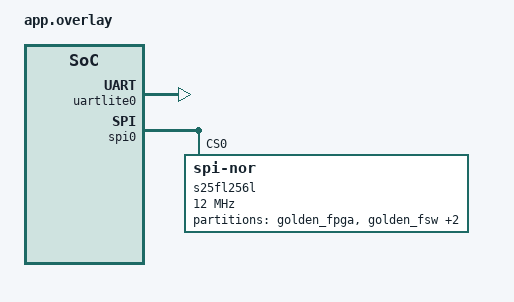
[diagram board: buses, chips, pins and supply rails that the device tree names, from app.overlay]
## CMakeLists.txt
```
cmake_minimum_required(VERSION 3.20.0)

set(BOARD scobc_module1)

find_package(Zephyr REQUIRED HINTS $ENV{ZEPHYR_BASE})
project(scsat1-bootloader)

target_sources(app PRIVATE src/main.c)
```

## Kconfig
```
mainmenu "SC-Sat1 Main Board"

menu "Application"

config SCOBC_A1_BOOT_CFG_COPY_SIZE_KB
	int "The size (in Kbytes) that the bootloader copies from config memory to HRMEM"
	default 256
	help
	  The size (in bytes) that the bootloader copies from config memory to HRMEM.

endmenu

menu "Zephyr"
source "Kconfig.zephyr"
endmenu
```

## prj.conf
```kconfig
CONFIG_SPI=y
CONFIG_FLASH=y
CONFIG_SPI_NOR=y
CONFIG_FLASH_MAP=y
CONFIG_FLASH_MAP_LABELS=y
```

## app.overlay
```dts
#include <freq.h>
#include <mem.h>

/delete-node/ &hrmem;
/delete-node/ &uartlite0;

/ {
	chosen {
		zephyr,sram = &itcm;
	};

	soc {
		itcm: memory@0 {
			compatible = "arm,itcm";
			reg = <0x00000000 DT_SIZE_K(32)>;
		};

		uartlite0: uartlite@4f010000 {
			compatible = "xlnx,xps-uartlite-1.00.a";
			interrupts = <0 0>;
			reg = <0x4f010000 0x10000>;
		};

		spi0: spi@40000000 {
			compatible = "sc,qspi";
			interrupts = <2 0>;
			reg = <0x40000000 0x1000>;
			#address-cells = <1>;
			#size-cells = <0>;
			slave-num = <1>;
			cpol = <0>;
			cpha = <0>;
			spiclk_div = <0>;
			data-capture-mode;

			s25fl256l: s25fl256l@0 {
				compatible = "jedec,spi-nor";
				reg = <0>;
				size = <DT_SIZE_M(256)>;
				spi-max-frequency = <12000000>;
				status = "okay";
				enter-4byte-addr = <1>;
				jedec-id = [01 60 19];

				partitions {
					compatible = "fixed-partitions";
					#address-cells = <1>;
					#size-cells = <1>;
					golden_fpga: partition@0 {
						reg = <0x00000000 DT_SIZE_M(8)>;
					};
					golden_fsw: partition@800000 {
						reg = <0x00800000 (DT_SIZE_M(4))>;
					};
					update_fpga: partition@1000000 {
						reg = <0x01000000 DT_SIZE_M(10)>;
					};
					update_fsw: partition@1A00000 {
						reg = <0x01A00000 (DT_SIZE_M(4))>;
					};
				};
			};
		};

		fpgasys: fpgasys@4f000000 {
			compatible = "sc,fpgasys";
			reg = <0x4f000000 0x10000>;
		};
	};
};
```

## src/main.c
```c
/*
 * Copyright (c) 2024 Space Cubics, LLC.
 *
 * SPDX-License-Identifier: Apache-2.0
 */

#include <string.h>
#include <zephyr/kernel.h>
#include <zephyr/storage/flash_map.h>
#include "version.h"
#include "sc_fpgasys.h"
#include "sc_fpgaconf.h"

#define SCOBCA1_FPGA_SYSREG_CFGMEMCTL (0x4F000010)
#define SCOBCA1_FPGA_HRMEM_ADDR       (0x60000000)
#define SYSREG_CODEMSEL_ENABLE_HRMEM  (0x5a5a0000)
#define QSPI_RX_FIFO_MAX_BYTE         (16U)

static int select_cfg_memory(void)
{
	int ret;
	enum sc_cfgmem boot_bank;

	/*
	 * FPGA configures using the Config memory bank specified by TRCH,
	 * but after control is transferred to the FPGA, the Config Memory
	 * selects the default 0 bank. Therefore, the Bootloader needs to
	 * check the FPGA registers to determine which bank was used for
	 * configuration, and then load the FSW from the same bank and copy
	 * it to HRMEM.
	 */
	boot_bank = sc_get_boot_cfgmem();

	ret = sc_select_cfgmem(boot_bank);
	if (ret == 0) {
		printk("Boot from CFG bank %d\n", boot_bank);
	} else {
		printk("Faild to boot from CFG bank %d\n", boot_bank);
	}

	return ret;
}

static int copy_norflash_to_hrmem(uint8_t partition_id, mm_reg_t sram_mem_addr, uint32_t size)
{
	int ret;
	const struct flash_area *flash = NULL;
	uint8_t read_vals[QSPI_RX_FIFO_MAX_BYTE];
	uint16_t loop_count;
	off_t offset = 0;

	ret = select_cfg_memory();
	if (ret < 0) {
		goto end;
	}

	printk("Load from partition id: %d\n", partition_id);

	ret = flash_area_open(partition_id, &flash);
	if (ret < 0) {
		goto end;
	}

	loop_count = size / QSPI_RX_FIFO_MAX_BYTE;
	for (uint16_t i = 0; i < loop_count; i++) {

		ret = flash_area_read(flash, offset, (void *)read_vals, QSPI_RX_FIFO_MAX_BYTE);
		if (ret < 0) {
			goto cleanup;
		}

		memcpy((void *)sram_mem_addr, read_vals, QSPI_RX_FIFO_MAX_BYTE);

		offset += QSPI_RX_FIFO_MAX_BYTE;
		sram_mem_addr += QSPI_RX_FIFO_MAX_BYTE;
	}

cleanup:
	flash_area_close(flash);

end:
	return ret;
}

int main(void)
{
	int ret;
	uint8_t partition_id = FIXED_PARTITION_ID(update_fsw);

	printk("Start SC-Sat1 Boot loader (v%s)\n", BOOT_LOADER_VERSION);
	printk("FPGA Boot Status : 0x%08x\n", sc_get_bootsts());

	if (sc_fpgaconf_is_fallback()) {
		partition_id = FIXED_PARTITION_ID(golden_fsw);
	}

	ret = copy_norflash_to_hrmem(partition_id, SCOBCA1_FPGA_HRMEM_ADDR,
				     KB(CONFIG_SCOBC_A1_BOOT_CFG_COPY_SIZE_KB));
	if (ret < 0) {
		goto end;
	}

	sc_select_codemem(SC_HRMEM);

end:
	return ret;
}
```

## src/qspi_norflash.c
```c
/*
 * Copyright (c) 2024 Space Cubics, LLC.
 *
 * SPDX-License-Identifier: Apache-2.0
 */

#include "qspi_norflash.h"

#include <zephyr/logging/log.h>
LOG_MODULE_REGISTER(qspi_norflash);

#define SCOBCA1_FPGA_SYSREG_CFGMEMCTL (0x4F000010)

#define QSPI_NOR_FLASH_MEM_ADDR_SIZE     (3u)
#define QSPI_DATA_MEM0_SS                (0x01)
#define QSPI_DATA_MEM1_SS                (0x02)
#define QSPI_ASR_IDLE                    (0x00)
#define QSPI_ASR_BUSY                    (0x01)
#define QSPI_RX_FIFO_MAX_BYTE            (16u)
#define QSPI_NOR_FLASH_DUMMY_CYCLE_COUNT (4u)
#define QSPI_SPI_MODE_QUAD               (0x00020000)

#define TRCH_CFG_MEM_MONI_BIT  (2u) /* TRCH RB2 */
#define TRCH_CFG_MEM_MONI_MASK (0x04)

#define REG_READ_RETRY(count) (count)

static inline void write32(uint32_t addr, uint32_t val)
{
	sys_write32(val, addr);
}

static bool verify(uint32_t addr, uint32_t exp, uint32_t retry)
{
	uint32_t regval;

	regval = sys_read32(addr);
	if (regval == exp) {
		LOG_DBG("  read32  [0x%08X] 0x%08x (exp:0x%08x)", addr, regval, exp);
		return true;
	} else if (retry == 0) {
		LOG_ERR("  read32  [0x%08X] 0x%08x (exp:0x%08x)", addr, regval, exp);
	}

	for (uint32_t i = 0; i < retry; i++) {
		regval = sys_read32(addr);
		if (regval == exp) {
			LOG_DBG("  read32  [0x%08X] 0x%08x (exp:0x%08x) (retry:%d)", addr, regval,
				exp, i + 1);
			return true;
		} else if (i + 1 == retry) {
			LOG_ERR("  read32  [0x%08X] 0x%08x (exp:0x%08x) (retry:%d)", addr, regval,
				exp, i + 1);
		} else {
			LOG_DBG("  read32  [0x%08X] 0x%08x (exp:0x%08x) (retry:%d)", addr, regval,
				exp, i + 1);
		}
		k_usleep(1);
	}

	LOG_ERR("  !!! Assertion failed: retry count: %d", retry);
	return false;
}

static bool qspi_select_mem(uint32_t base, uint8_t mem_no, uint32_t *spi_ss)
{
	if (base == SCOBCA1_FPGA_CFG_BASE_ADDR) {
		/* Config Memory is switched by CFGMEMSEL */
		if (mem_no == QSPI_DATA_MEM0) {
			LOG_DBG("* [#0] Select Config Memory 0");
			write32(SCOBCA1_FPGA_SYSREG_CFGMEMCTL, 0x00);
			if (!verify(SCOBCA1_FPGA_SYSREG_CFGMEMCTL, 0x00, REG_READ_RETRY(100000))) {
				LOG_ERR("  !!! Can not select Config Memory %d", mem_no);
				return false;
			}
		} else {
			LOG_DBG("* [#0] Select Config Memory 1");
			write32(SCOBCA1_FPGA_SYSREG_CFGMEMCTL, 0x10);
			if (!verify(SCOBCA1_FPGA_SYSREG_CFGMEMCTL, 0x30, REG_READ_RETRY(100000))) {
				LOG_ERR("  !!! Can not select Config Memory %d", mem_no);
				return false;
			}
		}
		*spi_ss = 0x01;
	} else {
		if (mem_no == QSPI_DATA_MEM0) {
			*spi_ss = QSPI_DATA_MEM0_SS;
		} else {
			*spi_ss = QSPI_DATA_MEM1_SS;
		}
	}

	return true;
}

static bool is_qspi_idle(uint32_t base)
{
	LOG_DBG("* Confirm QSPI Access Status is `Idle`");
	if (!verify(SCOBCA1_FPGA_NORFLASH_QSPI_ASR(base), QSPI_ASR_IDLE, REG_READ_RETRY(10))) {
		LOG_ERR("QSPI (Data Memory) is busy, so exit test");
		return false;
	}

	return true;
}

static bool activate_spi_ss(uint32_t base, uint32_t spi_mode)
{
	LOG_DBG("* Activate SPI SS with %08x", spi_mode);
	write32(SCOBCA1_FPGA_NORFLASH_QSPI_ACR(base), spi_mode);
	if (!is_qspi_idle(base)) {
		return false;
	}

	return true;
}

static bool inactivate_spi_ss(uint32_t base)
{
	LOG_DBG("* Inactivate SPI SS");
	write32(SCOBCA1_FPGA_NORFLASH_QSPI_ACR(base), 0x00000000);
	if (!is_qspi_idle(base)) {
		return false;
	}

	return true;
}

static void write_mem_addr_to_flash(uint32_t base, mm_reg_t mem_addr)
{
	write32(SCOBCA1_FPGA_NORFLASH_QSPI_TDR(base), (mem_addr & 0x00FF0000) >> 16);
	write32(SCOBCA1_FPGA_NORFLASH_QSPI_TDR(base), (mem_addr & 0x0000FF00) >> 8);
	write32(SCOBCA1_FPGA_NORFLASH_QSPI_TDR(base), (mem_addr & 0x000000FF));
}

static bool send_dummy_cycle(uint32_t base, uint8_t dummy_count)
{
	LOG_DBG("* Send dummy cycle %d byte", dummy_count);
	for (uint8_t i = 0; i < dummy_count; i++) {
		write32(SCOBCA1_FPGA_NORFLASH_QSPI_RDR(base), 0x00);
	}

	if (!is_qspi_idle(base)) {
		return false;
	}

	LOG_DBG("* Discard dummy data");
	for (uint8_t i = 0; i < dummy_count; i++) {
		sys_read32(SCOBCA1_FPGA_NORFLASH_QSPI_RDR(base));
	}

	return true;
}

static bool read_rx_data(uint32_t base, size_t read_size, uint8_t *read_vals)
{
	bool ret = true;

	LOG_DBG("* Reqest RX FIFO %d byte", read_size);
	for (uint8_t i = 0; i < read_size; i++) {
		write32(SCOBCA1_FPGA_NORFLASH_QSPI_RDR(base), 0x00);
	}

	if (!is_qspi_idle(base)) {
		return false;
	}

	LOG_DBG("* Read RX FIFO %d byte", read_size);
	for (uint8_t i = 0; i < read_size; i++) {
		read_vals[i] = sys_read8(SCOBCA1_FPGA_NORFLASH_QSPI_RDR(base));
		LOG_DBG("0x%2x", read_vals[i]);
	}

	return ret;
}

static bool read_and_verify_rx_data(uint32_t base, size_t exp_size, uint32_t *exp_val)
{
	bool ret = true;

	LOG_DBG("* Reqest RX FIFO %d byte", exp_size);
	for (uint8_t i = 0; i < exp_size; i++) {
		write32(SCOBCA1_FPGA_NORFLASH_QSPI_RDR(base), 0x00);
	}

	if (!is_qspi_idle(base)) {
		return false;
	}

	LOG_DBG("* Read RX FIFO %d byte and verify the value", exp_size);
	for (uint8_t i = 0; i < exp_size; i++) {
		if (!verify(SCOBCA1_FPGA_NORFLASH_QSPI_RDR(base), exp_val[i], REG_READ_RETRY(0))) {
			ret = false;
		}
	}

	return ret;
}

static bool is_qspi_control_done(uint32_t base)
{
	LOG_DBG("* Confirm QSPI IntLOG_ERRupt Stauts is `SPI Control Done`");
	if (!verify(SCOBCA1_FPGA_NORFLASH_QSPI_ISR(base), 0x01, REG_READ_RETRY(10))) {
		return false;
	}

	LOG_DBG("* Clear QSPI IntLOG_ERRupt Stauts");
	write32(SCOBCA1_FPGA_NORFLASH_QSPI_ISR(base), 0x01);
	if (!verify(SCOBCA1_FPGA_NORFLASH_QSPI_ISR(base), 0x00, REG_READ_RETRY(10))) {
		return false;
	}

	return true;
}

static bool verify_status_resisger1(uint32_t base, uint32_t spi_ss, size_t exp_size,
				    uint32_t *exp_val)
{
	bool ret;

	/* Activate SPI SS with SINGLE-IO */
	if (!activate_spi_ss(base, spi_ss)) {
		return false;
	}

	LOG_DBG("* Request Status Register 1");
	write32(SCOBCA1_FPGA_NORFLASH_QSPI_TDR(base), 0x05);
	if (!is_qspi_idle(base)) {
		return false;
	}

	/* Read Memory data (2byte) adn Verify */
	ret = read_and_verify_rx_data(base, exp_size, exp_val);
	if (!ret) {
	}

	/* Inactive SPI SS */
	if (!inactivate_spi_ss(base)) {
		return false;
	}

	/* Confirm SPI Control is Done */
	if (!is_qspi_control_done(base)) {
		return false;
	}

	return ret;
}

static bool clear_status_register(uint32_t base, uint32_t spi_ss)
{
	/* Activate SPI SS with SINGLE-IO */
	if (!activate_spi_ss(base, spi_ss)) {
		return false;
	}

	/* Clear All ISR */
	write32(SCOBCA1_FPGA_NORFLASH_QSPI_ISR(base), 0xFFFFFFFF);

	LOG_DBG("* Clear Status Register (Instructure:0x30) ");
	write32(SCOBCA1_FPGA_NORFLASH_QSPI_TDR(base), 0x30);

	/* Inactive SPI SS */
	if (!inactivate_spi_ss(base)) {
		return false;
	}

	/* Confirm SPI Control is Done */
	if (!is_qspi_control_done(base)) {
		return false;
	}

	return true;
}

static bool set_write_enable(uint32_t base, uint32_t spi_ss)
{
	uint32_t exp_write_enable[] = {0x02, 0x02};

	/* Active SPI SS with SINGLE-IO */
	if (!activate_spi_ss(base, spi_ss)) {
		return false;
	}

	LOG_DBG("* Set `Write Enable` (Instructure:0x06) ");
	write32(SCOBCA1_FPGA_NORFLASH_QSPI_TDR(base), 0x06);

	/* Inactive SPI SS */
	if (!inactivate_spi_ss(base)) {
		return false;
	}

	/* Confirm SPI Control is Done */
	if (!is_qspi_control_done(base)) {
		return false;
	}

	if (!verify_status_resisger1(base, spi_ss, ARRAY_SIZE(exp_write_enable),
				     exp_write_enable)) {
		return false;
	}

	return true;
}

static bool set_quad_io_mode(uint32_t base, uint32_t spi_ss)
{
	/* Activate SPI SS with SINGLE-IO */
	if (!activate_spi_ss(base, spi_ss)) {
		return false;
	}

	LOG_DBG("* Set QUAD I/O mode to configuration register");
	write32(SCOBCA1_FPGA_NORFLASH_QSPI_TDR(base), 0x01);
	write32(SCOBCA1_FPGA_NORFLASH_QSPI_TDR(base), 0x00);
	write32(SCOBCA1_FPGA_NORFLASH_QSPI_TDR(base), 0x02);
	if (!is_qspi_idle(base)) {
		return false;
	}

	/* Inactivate SPI SS */
	if (!inactivate_spi_ss(base)) {
		return false;
	}

	/* Confirm SPI Control is Done */
	if (!is_qspi_control_done(base)) {
		return false;
	}

	return true;
}

static bool verify_config_register(uint32_t base, uint32_t spi_ss, size_t exp_size,
				   uint32_t *exp_val)
{
	bool ret;

	/* Activate SPI SS with SINGLE-IO */
	if (!activate_spi_ss(base, spi_ss)) {
		return false;
	}

	LOG_DBG("* Request Configuration Register");
	write32(SCOBCA1_FPGA_NORFLASH_QSPI_TDR(base), 0x35);
	if (!is_qspi_idle(base)) {
		return false;
	}

	/* Read Memory data (2byte) adn Verify */
	ret = read_and_verify_rx_data(base, exp_size, exp_val);

	/* Inactive SPI SS */
	if (!inactivate_spi_ss(base)) {
		return false;
	}

	/* Confirm SPI Control is Done */
	if (!is_qspi_control_done(base)) {
		return false;
	}

	return ret;
}

static bool verify_quad_io_mode(uint32_t base, uint32_t spi_ss)
{
	uint32_t exp_quad_mode[2] = {0x02, 0x02};

	if (!verify_config_register(base, spi_ss, ARRAY_SIZE(exp_quad_mode), exp_quad_mode)) {
		return false;
	}

	return true;
}

bool qspi_norflash_init(uint32_t base, uint8_t mem_no)
{
	uint32_t spi_ss;

	if (mem_no > 1) {
		LOG_ERR("   !!! Invalid Mem number %d (expected 0 or 1)", mem_no);
		return false;
	}

	if (!qspi_select_mem(base, mem_no, &spi_ss)) {
		return false;
	}

	LOG_DBG("* [#1] Clear Status Register");
	if (!clear_status_register(base, spi_ss)) {
		return false;
	}

	LOG_DBG("* [#2] Set to `Write Enable'");
	if (!set_write_enable(base, spi_ss)) {
		return false;
	}

	LOG_DBG("* [#3] Set to `QUAD I/O modee'");
	if (!set_quad_io_mode(base, spi_ss)) {
		return false;
	}

	/* Wait 1 sec */
	k_sleep(K_MSEC(1000));

	LOG_DBG("* [#4] Verify Configuration Register is QUAD I/O mode (0x02)");
	if (!verify_quad_io_mode(base, spi_ss)) {
		return false;
	}

	return true;
}

static bool qspi_norflash_set_quad_read_mode(uint32_t base, uint32_t spi_ss)
{
	/* Active SPI SS with SINGLE-IO */
	if (!activate_spi_ss(base, spi_ss)) {
		return false;
	}

	LOG_DBG("* Set QUAD-IO read mode");
	write32(SCOBCA1_FPGA_NORFLASH_QSPI_TDR(base), 0xEB);
	if (!is_qspi_idle(base)) {
		return false;
	}

	/* Keep SPI SS for QUAD Read */
	return true;
}

static bool qspi_norflash_quad_read_data(uint32_t base, uint32_t spi_ss, mm_reg_t mem_addr,
					 uint8_t read_size, uint8_t *read_vals)
{
	bool ret;

	LOG_DBG("* Activate SPI SS with Quad-IO SPI Mode");
	write32(SCOBCA1_FPGA_NORFLASH_QSPI_ACR(base), QSPI_SPI_MODE_QUAD + spi_ss);

	LOG_DBG("* Send Memory Address (3byte)");
	write_mem_addr_to_flash(base, mem_addr);

	LOG_DBG("* Send Mode (0x00)");
	write32(SCOBCA1_FPGA_NORFLASH_QSPI_TDR(base), 0x00);

	/* Send Dummy Cycle */
	send_dummy_cycle(base, QSPI_NOR_FLASH_DUMMY_CYCLE_COUNT);
	if (!is_qspi_idle(base)) {
		return false;
	}

	/* Read Initial RX data and verify */
	ret = read_rx_data(base, read_size, read_vals);
	if (!ret) {
	}

	/* Inactive the SPI SS */
	if (!inactivate_spi_ss(base)) {
		return false;
	}

	return ret;
}

int qspi_norflash_copy_to_hrmem(uint8_t mem_no, mm_reg_t cfg_mem_addr, uint32_t size,
				mm_reg_t sram_mem_addr)
{
	int ret = 0;
	uint32_t base = SCOBCA1_FPGA_CFG_BASE_ADDR;
	uint32_t spi_ss;
	uint8_t read_vals[QSPI_RX_FIFO_MAX_BYTE];
	uint16_t loop_count;

	if (mem_no > 1) {
		LOG_ERR("Invalid Mem number %d (expected 0 or 1)", mem_no);
		ret = -1;
		goto end;
	}

	if (!qspi_select_mem(base, mem_no, &spi_ss)) {
		ret = -1;
		goto end;
	}

	LOG_DBG("* [#1] Clear Status Register");
	if (!clear_status_register(base, spi_ss)) {
		ret = -1;
		goto end;
	}

	loop_count = size / QSPI_RX_FIFO_MAX_BYTE;
	for (uint16_t i = 0; i < loop_count; i++) {

		LOG_DBG("* [#2] Set QUAD-IO Read Mode");
		if (!qspi_norflash_set_quad_read_mode(base, spi_ss)) {
			ret = -1;
			goto end;
		}

		LOG_DBG("* [#3] Read Data (QUAD-IO Mode) ");
		if (!qspi_norflash_quad_read_data(base, spi_ss, cfg_mem_addr, QSPI_RX_FIFO_MAX_BYTE,
						  read_vals)) {
			ret = -1;
			goto end;
		}

		memcpy((void *)sram_mem_addr, read_vals, QSPI_RX_FIFO_MAX_BYTE);

		cfg_mem_addr += QSPI_RX_FIFO_MAX_BYTE;
		sram_mem_addr += QSPI_RX_FIFO_MAX_BYTE;
	}

end:
	return ret;
}
```

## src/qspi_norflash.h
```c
/*
 * Copyright (c) 2024 Space Cubics, LLC.
 *
 * SPDX-License-Identifier: Apache-2.0
 */

#pragma once

#include <zephyr/kernel.h>

/* Base address */
#define SCOBCA1_FPGA_CFG_BASE_ADDR  (0x40000000)
#define SCOBCA1_FPGA_DATA_BASE_ADDR (0x40100000)

/* Offset */
#define QSPI_ACR_OFFSET    (0x0000) /* QSPI Access Control Register */
#define QSPI_TDR_OFFSET    (0x0004) /* QSPI TX Data Register */
#define QSPI_RDR_OFFSET    (0x0008) /* QSPI RX Data Register */
#define QSPI_ASR_OFFSET    (0x000C) /* QSPI Access Status Register */
#define QSPI_FIFOSR_OFFSET (0x0010) /* QSPI FIFO Status Register */
#define QSPI_FIFORR_OFFSET (0x0014) /* QSPI FIFO Reset Register */
#define QSPI_ISR_OFFSET    (0x0020) /* QSPI Interrupt Status Register */
#define QSPI_IER_OFFSET    (0x0024) /* QSPI Interrupt Enable Register */
#define QSPI_CCR_OFFSET    (0x0030) /* QSPI Clock Control Register */
#define QSPI_DCMSR_OFFSET  (0x0034) /* QSPI Data Capture Mode Setting Register */
#define QSPI_FTLSR_OFFSET  (0x0038) /* QSPI FIFO Threshold Level Setting Register */
#define QSPI_VER_OFFSET    (0xF000) /* QSPI Controller IP Version Register */

/* QSPI Control Register for Data/ Configutation Memory */
#define SCOBCA1_FPGA_NORFLASH_QSPI_ACR(base)    (base + QSPI_ACR_OFFSET)
#define SCOBCA1_FPGA_NORFLASH_QSPI_TDR(base)    (base + QSPI_TDR_OFFSET)
#define SCOBCA1_FPGA_NORFLASH_QSPI_RDR(base)    (base + QSPI_RDR_OFFSET)
#define SCOBCA1_FPGA_NORFLASH_QSPI_ASR(base)    (base + QSPI_ASR_OFFSET)
#define SCOBCA1_FPGA_NORFLASH_QSPI_FIFOSR(base) (base + QSPI_FIFOSR_OFFSET)
#define SCOBCA1_FPGA_NORFLASH_QSPI_FIFORR(base) (base + QSPI_FIFORR_OFFSET)
#define SCOBCA1_FPGA_NORFLASH_QSPI_ISR(base)    (base + QSPI_ISR_OFFSET)
#define SCOBCA1_FPGA_NORFLASH_QSPI_IER(base)    (base + QSPI_IER_OFFSET)
#define SCOBCA1_FPGA_NORFLASH_QSPI_CCR(base)    (base + QSPI_CCR_OFFSET)
#define SCOBCA1_FPGA_NORFLASH_QSPI_DCMSR(base)  (base + QSPI_DCMSR_OFFSET)
#define SCOBCA1_FPGA_NORFLASH_QSPI_FTLSR(base)  (base + QSPI_FTLSR_OFFSET)
#define SCOBCA1_FPGA_NORFLASH_QSPI_VER(base)    (base + QSPI_VER_OFFSET)

#define QSPI_DATA_MEM0             (0u)
#define QSPI_DATA_MEM1             (1u)
#define QSPI_CFG_MEM0              (0u)
#define QSPI_CFG_MEM1              (1u)
#define QSPI_NOR_FLASH_SECTOR_BYTE (4 * 1024)
#define QSPI_NOR_FLASH_BLOCK_BYTE  (64 * 1024)

uint32_t qspi_norflash_initialize(uint32_t test_no);
int qspi_norflash_copy_to_hrmem(uint8_t mem_no, mm_reg_t cfg_mem_addr, uint32_t size,
				mm_reg_t hrmem_mem_addr);
```

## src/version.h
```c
/*
 * Copyright (c) 2024 Space Cubics, LLC.
 *
 * SPDX-License-Identifier: Apache-2.0
 */

#pragma once

#define BOOT_LOADER_VERSION "1.0.0"
```
